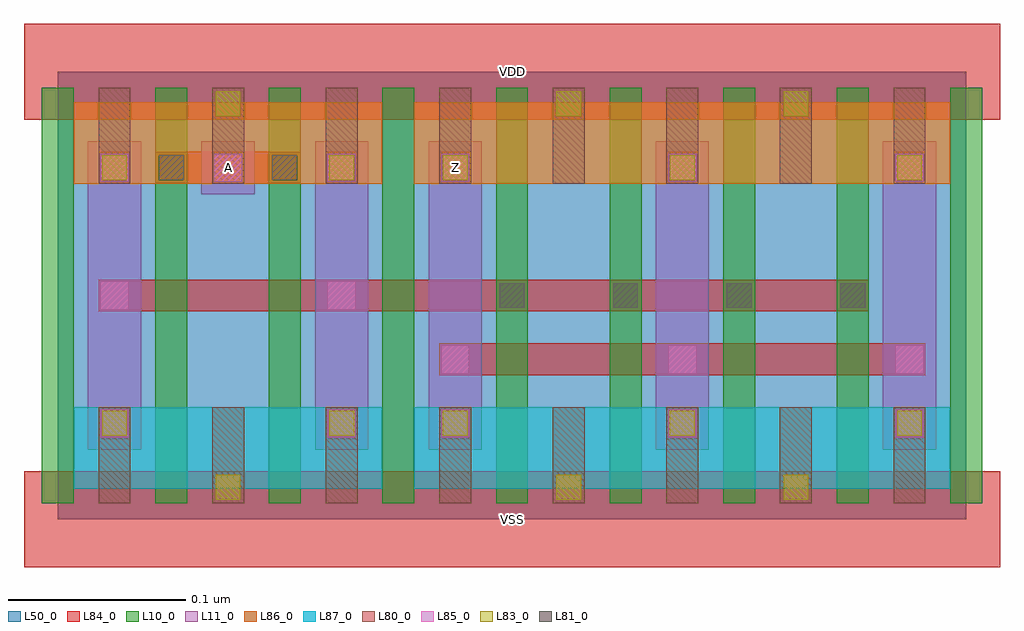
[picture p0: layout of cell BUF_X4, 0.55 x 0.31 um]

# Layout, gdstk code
import gdstk
lib = gdstk.Library(unit=1e-6, precision=1e-09)
def R(c, l, rs):  # rectangles x0, y0, x1, y1
    for r in rs: c.add(gdstk.rectangle(r[:2], r[2:], *l))
def A(c, l, x, y, w, h, nx, ny, dx, dy):  # array of equal rectangles
    R(c, l, [(x+i*dx, y+j*dy, x+i*dx+w, y+j*dy+h) for i in range(nx) for j in range(ny)])
L10_0 = (10, 0)
L11_0 = (11, 0)
L50_0 = (50, 0)
L80_0 = (80, 0)
L81_0 = (81, 0)
L83_0 = (83, 0)
L84_0 = (84, 0)
L85_0 = (85, 0)
L86_0 = (86, 0)
L87_0 = (87, 0)

buf_x4 = lib.new_cell('BUF_X4')
A(buf_x4, L10_0, -0.009, 0.009, 0.018, 0.234, 9, 1, 0.064, 0)
A(buf_x4, L11_0, 0.209, 0.039, 0.03, 0.174, 3, 1, 0.128, 0)
R(buf_x4, L11_0, [(0.017,0.039,0.047,0.213), (0.145,0.039,0.175,0.213), (0.081,0.183,0.111,0.213)])
R(buf_x4, L50_0, [(0,0,0.512,0.252)])
A(buf_x4, L80_0, 0.023, 0.009, 0.018, 0.054, 8, 2, 0.064, 0.18)
A(buf_x4, L81_0, 0.249, 0.119, 0.014, 0.014, 4, 1, 0.064, 0)
R(buf_x4, L81_0, [(0.057,0.191,0.071,0.205), (0.121,0.191,0.135,0.205)])
A(buf_x4, L83_0, 0.217, 0.047, 0.014, 0.014, 3, 2, 0.128, 0.144)
R(buf_x4, L83_0, [(0.089,0.011,0.103,0.025), (0.281,0.011,0.295,0.025), (0.409,0.011,0.423,0.025), (0.025,0.047,0.039,0.061), (0.153,0.047,0.167,0.061), (0.025,0.191,0.039,0.205), (0.153,0.191,0.167,0.205), (0.089,0.227,0.103,0.241), (0.281,0.227,0.295,0.241), (0.409,0.227,0.423,0.241)])
A(buf_x4, L84_0, 0.215, 0.045, 0.018, 0.018, 3, 2, 0.128, 0.144)
R(buf_x4, L84_0, [(-0.019,-0.027,0.531,0.027), (0.023,0.045,0.041,0.063), (0.151,0.045,0.169,0.063), (0.215,0.081,0.489,0.099), (0.023,0.117,0.457,0.135), (0.023,0.189,0.041,0.207), (0.055,0.189,0.137,0.207), (0.151,0.189,0.169,0.207), (-0.019,0.225,0.531,0.279)])
A(buf_x4, L85_0, 0.216, 0.046, 0.016, 0.016, 3, 2, 0.128, 0.036)
A(buf_x4, L85_0, 0.024, 0.19, 0.016, 0.016, 4, 1, 0.064, 0)
R(buf_x4, L85_0, [(0.024,0.046,0.04,0.062), (0.152,0.046,0.168,0.062), (0.024,0.118,0.04,0.134), (0.152,0.118,0.168,0.134), (0.344,0.19,0.36,0.206), (0.472,0.19,0.488,0.206)])
R(buf_x4, L86_0, [(0.009,0.189,0.183,0.235), (0.201,0.189,0.503,0.235)])
R(buf_x4, L87_0, [(0.009,0.017,0.183,0.063), (0.201,0.017,0.503,0.063)])
buf_x4.add(gdstk.Label('VDD', (0.256,0.252), layer=88, texttype=0))
buf_x4.add(gdstk.Label('VSS', (0.256,0), layer=88, texttype=0))
buf_x4.add(gdstk.Label('Z', (0.224,0.198), layer=31, texttype=0))
buf_x4.add(gdstk.Label('A', (0.096,0.198), layer=31, texttype=0))

lib.write_gds('BUF_X4.gds')
